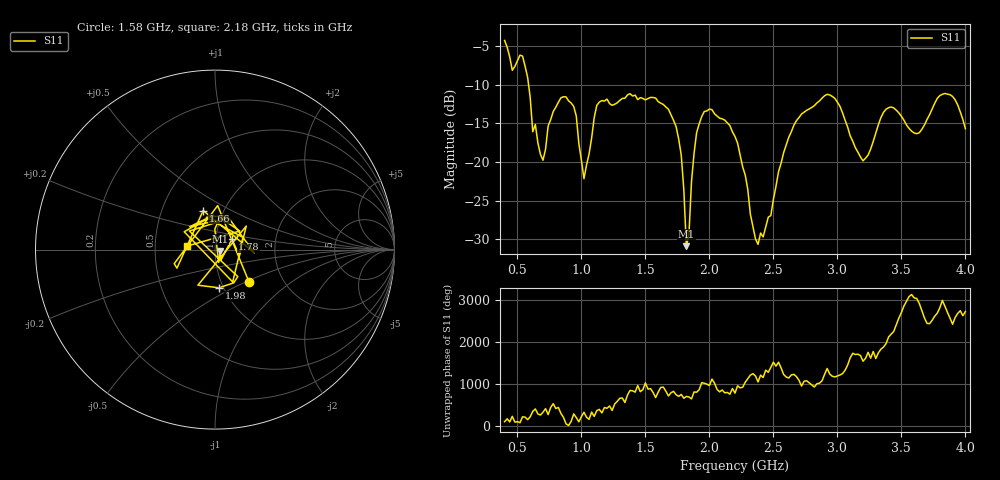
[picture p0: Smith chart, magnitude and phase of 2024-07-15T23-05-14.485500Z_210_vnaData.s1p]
!Created with skrf (http://scikit-rf.org).
# Hz S RI R 50.0
!freq ReS11 ImS11
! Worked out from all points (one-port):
!   181 points, 400 MHz to 4 GHz, reference 50 ohm
!   lowest |S11| = -30.9 dB at 1.82 GHz (marker M1), VSWR 1.06, Z = 52.8 - j0.835 ohm
!   |S11| at or under -10 dB: 587.2 MHz to end of sweep
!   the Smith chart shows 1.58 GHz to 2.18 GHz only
!   S11 on the Smith chart (normalised r, x): 1.58 GHz: 1.35, -0.52; 1.66 GHz: 0.80, +0.37; 1.78 GHz: 1.20, +0.14; 1.98 GHz: 0.95, -0.43; 2.18 GHz: 0.73, +0.03
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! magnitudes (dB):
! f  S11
! 400 MHz  -4.3
! 460 MHz  -8.1
! 540 MHz  -6.3
! 620 MHz  -16.1
! 700 MHz  -19.8
! 860 MHz  -11.6
! 960 MHz  -14.0
! 1.02 GHz  -22.1
! 1.12 GHz  -12.7
! 1.3 GHz  -12.0
! 1.58 GHz  -11.7
! 1.66 GHz  -12.9
! 1.76 GHz  -17.0
! 1.78 GHz  -19.1
! 1.82 GHz  -30.9
! 1.9 GHz  -16.2
! 1.98 GHz  -13.4
! 2.18 GHz  -16.1
! 2.2 GHz  -16.7
! 2.38 GHz  -30.6
! 2.66 GHz  -15.2
! 2.92 GHz  -11.2
! 3.1 GHz  -16.6
! 3.2 GHz  -19.8
! 3.38 GHz  -13.2
! 3.56 GHz  -15.7
! 3.84 GHz  -11.1
! 4 GHz  -15.7
